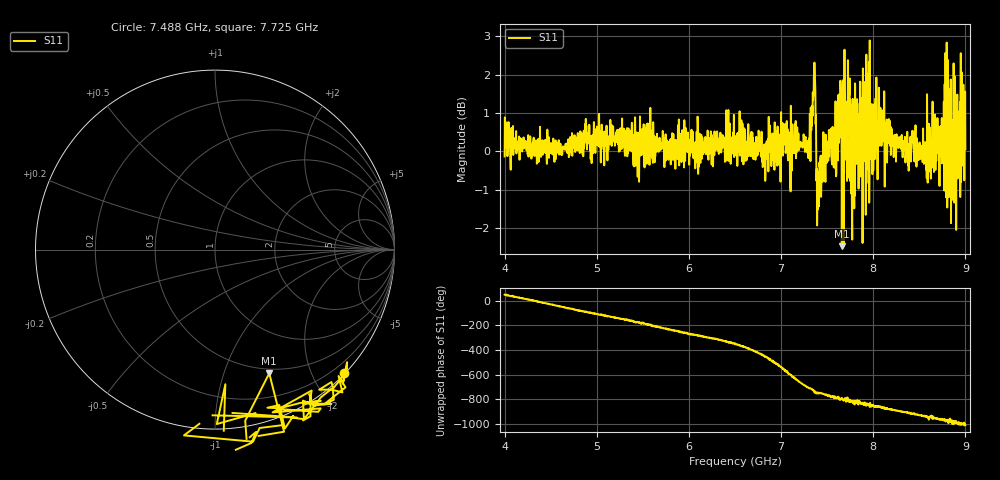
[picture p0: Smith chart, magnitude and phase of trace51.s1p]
! Created with skrf 1.8.0 (http://scikit-rf.org).
# Hz S RI R 50.0
!freq ReS11 ImS11
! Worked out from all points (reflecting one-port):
!   1601 points, 4 GHz to 9 GHz, reference 50 ohm
!   lowest |S11| = -2.5 dB at 7.659 GHz (marker M1), VSWR 7.08, Z = 22.6 - j71.7 ohm
!   phase of S11 starts at 50 deg and turns -1057 deg over the sweep
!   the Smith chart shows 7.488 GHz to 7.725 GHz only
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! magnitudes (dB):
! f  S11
! 4 GHz  -0.1
! 4.625 GHz  -0.1
! 5.25 GHz  0.0
! 5.875 GHz  0.3
! 6.5 GHz  0.4
! 6.816 GHz  0.2
! 6.859 GHz  0.3
! 7.125 GHz  0.4
! 7.294 GHz  -0.2
! 7.353 GHz  1.5
! 7.409 GHz  -1.4
! 7.519 GHz  0.6
! 7.594 GHz  -0.4
! 7.628 GHz  1.5
! 7.659 GHz  -2.5
! 7.697 GHz  0.4
! 7.712 GHz  1.3
! 7.75 GHz  1.4
! 7.775 GHz  1.0
! 7.828 GHz  -0.1
! 7.928 GHz  0.7
! 8.375 GHz  -0.1
! 8.441 GHz  0.1
! 8.612 GHz  0.5
! 8.791 GHz  -1.2
! 8.844 GHz  -1.9
! 8.953 GHz  -0.8
! 9 GHz  0.1
